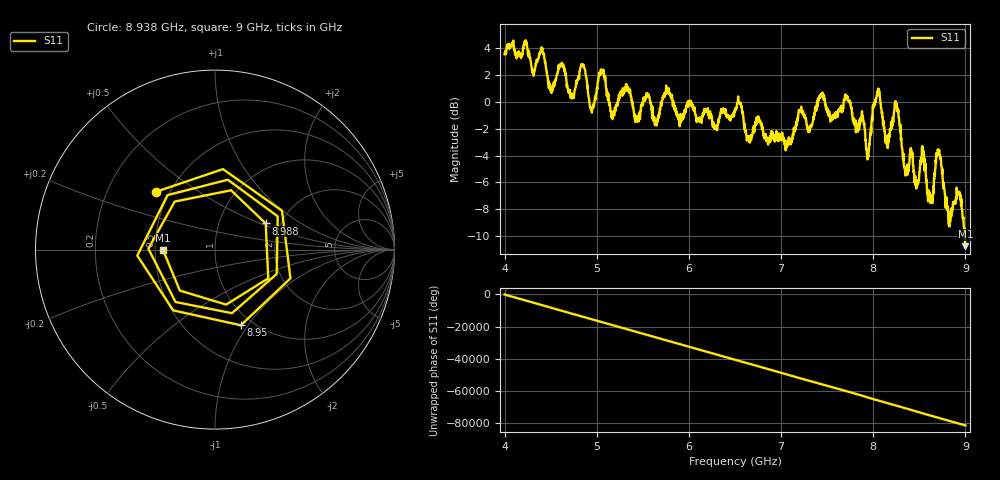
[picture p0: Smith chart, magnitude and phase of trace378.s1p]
! Created with skrf 1.8.0 (http://scikit-rf.org).
# Hz S RI R 50.0
!freq ReS11 ImS11
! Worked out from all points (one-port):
!   1601 points, 4 GHz to 9 GHz, reference 50 ohm
!   lowest |S11| = -10.8 dB at 9 GHz (marker M1), VSWR 1.81, Z = 27.6 - j0.21 ohm
!   |S11| at or under -10 dB: 8.993554 GHz to end of sweep
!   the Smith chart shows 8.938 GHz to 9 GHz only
!   S11 on the Smith chart (normalised r, x): 8.938 GHz: 0.42, +0.35; 8.95 GHz: 0.88, -0.93; 8.988 GHz: 1.68, +0.54; 9 GHz: 0.55, -0.00
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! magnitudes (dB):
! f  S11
! 4 GHz  3.6
! 4.403 GHz  4.0
! 4.503 GHz  0.8
! 4.625 GHz  2.7
! 4.731 GHz  0.5
! 4.85 GHz  2.8
! 4.944 GHz  -0.4
! 5.05 GHz  2.1
! 5.169 GHz  -1.0
! 5.25 GHz  0.5
! 5.875 GHz  -0.9
! 6.5 GHz  -0.6
! 7.125 GHz  -2.5
! 7.434 GHz  0.6
! 7.75 GHz  -0.1
! 7.941 GHz  -4.1
! 8.047 GHz  0.8
! 8.153 GHz  -3.4
! 8.25 GHz  -0.1
! 8.375 GHz  -5.1
! 8.541 GHz  -3.7
! 8.619 GHz  -7.5
! 8.709 GHz  -3.9
! 8.822 GHz  -9.2
! 8.938 GHz  -6.8
! 8.95 GHz  -7.0
! 8.988 GHz  -10.0
! 9 GHz  -10.8
